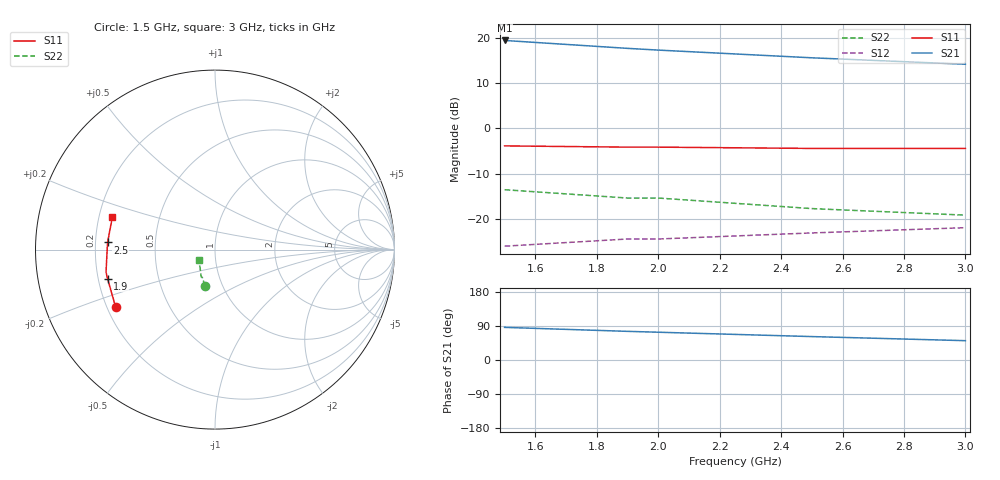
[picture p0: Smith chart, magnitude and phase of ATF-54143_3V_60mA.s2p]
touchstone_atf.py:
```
"""Book 4, Chapter 48: a minimal Touchstone 1.1 reader for a 2-port file with a noise block,
and the stability, gain and noise calculations of Worked Examples 48.1-48.5.
Standard library only. Check against scikit-rf with check_skrf() if it is installed."""
import cmath, math
def read_s2p(path):
    unit, fmt, z0 = 1e9, 'MA', 50.0
    scale = {'HZ': 1, 'KHZ': 1e3, 'MHZ': 1e6, 'GHZ': 1e9}
    s, noise, last_f, in_noise = [], [], -1.0, False
    for line in open(path):
        line = line.split('!')[0].strip()
        if not line: continue
        if line.startswith('#'):
            tok = line[1:].upper().split(); unit = 1e9; fmt = 'MA'
            for i, t in enumerate(tok):
                if t in scale: unit = scale[t]
                elif t in ('MA', 'DB', 'RI'): fmt = t
                elif t == 'R': z0 = float(tok[i + 1])
                elif t in ('Y', 'Z', 'H', 'G'): raise ValueError('this reader handles S-parameters only')
            continue
        v = [float(x) for x in line.split()]; f = v[0] * unit
        if f <= last_f: in_noise = True        # Touchstone 1.x: noise block starts when frequency does not increase
        last_f = f
        if in_noise:
            noise.append((f, v[1], cmath.rect(v[2], math.radians(v[3])), v[4] * z0)); continue
        def c(a, b):
            if fmt == 'MA': return cmath.rect(a, math.radians(b))
            if fmt == 'DB': return cmath.rect(10 ** (a / 20), math.radians(b))
            return complex(a, b)
        p = [c(v[k], v[k + 1]) for k in (1, 3, 5, 7)]
        s.append((f, p[0], p[1], p[2], p[3]))   # file order N11 N21 N12 N22: S21 comes before S12
    return s, noise, z0
def stability(s11, s21, s12, s22):
    d = s11 * s22 - s12 * s21
    k = (1 - abs(s11) ** 2 - abs(s22) ** 2 + abs(d) ** 2) / (2 * abs(s12 * s21))
    mu = (1 - abs(s11) ** 2) / (abs(s22 - d * s11.conjugate()) + abs(s12 * s21))
    return k, mu, abs(d)
def msg_db(s21, s12): return 10 * math.log10(abs(s21) / abs(s12))
def nf_db(gs, fmin_db, gopt, rn, z0=50.0):
    fmin = 10 ** (fmin_db / 10)
    return 10 * math.log10(fmin + 4 * rn / z0 * abs(gs - gopt) ** 2 / ((1 - abs(gs) ** 2) * abs(1 + gopt) ** 2))
def ga_db(gs, s11, s21, s12, s22):
    gout = s22 + s12 * s21 * gs / (1 - s11 * gs)
    return 10 * math.log10(abs(s21) ** 2 * (1 - abs(gs) ** 2) / (abs(1 - s11 * gs) ** 2 * (1 - abs(gout) ** 2)))
def noise_circle(nf_target_db, fmin_db, gopt, rn, z0=50.0):
    fmin = 10 ** (fmin_db / 10); F = 10 ** (nf_target_db / 10)
    N = (F - fmin) / (4 * rn / z0) * abs(1 + gopt) ** 2
    return gopt / (N + 1), math.sqrt(N * (N + 1 - abs(gopt) ** 2)) / (N + 1)
if __name__ == '__main__':
    import sys
    s, noise, z0 = read_s2p(sys.argv[1] if len(sys.argv) > 1 else 'ATF-54143_3V_60mA.s2p')
    f, s11, s21, s12, s22 = [x for x in s if abs(x[0] - 2e9) < 1][0]
    k, mu, d = stability(s11, s21, s12, s22)
    print('2 GHz: K = %.3f, mu = %.3f, |D| = %.3f, MSG = %.2f dB' % (k, mu, d, msg_db(s21, s12)))
    fn, fmin_db, gopt, rn = [x for x in noise if abs(x[0] - 2e9) < 1][0]
    print('NF with 50 ohm source: %.2f dB; at Gopt: %.2f dB; GA at Gopt: %.2f dB' % (
        nf_db(0, fmin_db, gopt, rn), nf_db(gopt, fmin_db, gopt, rn), ga_db(gopt, s11, s21, s12, s22)))
    for t in (0.6, 0.8, 1.0): print('NF %.1f dB circle: center %s, radius %.3f' % ((t,) + noise_circle(t, fmin_db, gopt, rn)))
```
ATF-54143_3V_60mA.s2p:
! ATF-54143 E-pHEMT, VDS = 3 V, ID = 60 mA, transcribed from the Broadcom (Avago) data sheet tables
! Reference planes at the ends of the leads, 0.025 in alumina carrier, 4 source vias
! Excerpt of five frequencies for Book 4, Chapter 48; use the full vendor file for design work
# GHz S MA R 50
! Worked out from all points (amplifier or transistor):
!   5 points, 1.5 GHz to 3 GHz, reference 50 ohm
!   highest |S21| = 19.4 dB at 1.5 GHz (marker M1)
!   |S21| within 3 dB of that: start of sweep to 2.256 GHz
!   unconditionally stable (mu >= 1): nowhere
!   at 1.5 GHz: K = 0.71, MSG = 22.7 dB, |S12| = -26.0 dB
!   at 2 GHz: K = 0.81, MSG = 20.9 dB, |S12| = -24.4 dB
!   at 3 GHz: K = 0.95, MSG = 18.0 dB, |S12| = -21.9 dB
!   lowest NFmin = 0.42 dB at 1.9 GHz
!   S11 on the Smith chart (normalised r, x): 1.5 GHz: 0.23, -0.26; 1.9 GHz: 0.24, -0.13; 2.5 GHz: 0.25, +0.03; 3 GHz: 0.26, +0.15
1.5  0.64 -149.8  9.34 86.1  0.05 36.1  0.21 -105.2
1.9  0.62 -164.9  7.64 75.6  0.06 33.8  0.17 -114.7
2  0.62 -168.3  7.31 73.3  0.06 33.3  0.17 -117.0
2.5  0.6 176.2  6.01 61.8  0.07 30.1  0.13 -129.7
3  0.6 162.3  5.1 51.0  0.08 26.5  0.11 -146.5
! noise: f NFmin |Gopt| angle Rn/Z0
1.9  0.42  0.27  116.3  0.04
2  0.45  0.27  120.1  0.04
2.4  0.52  0.26  145.8  0.04
3  0.59  0.29  178  0.05
